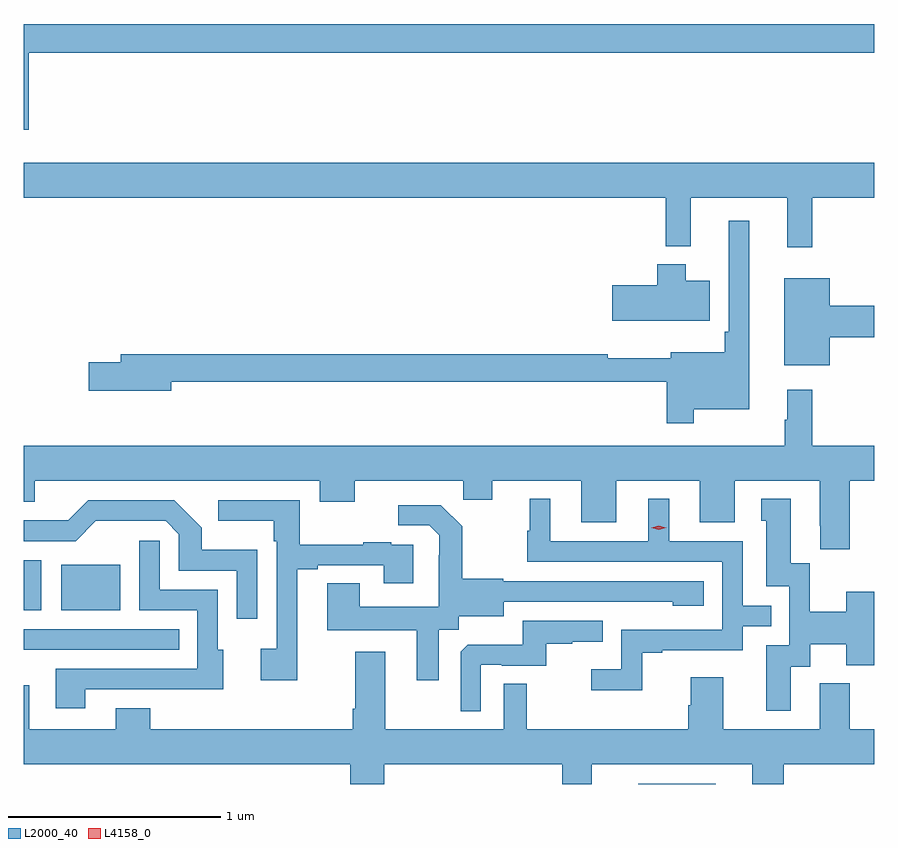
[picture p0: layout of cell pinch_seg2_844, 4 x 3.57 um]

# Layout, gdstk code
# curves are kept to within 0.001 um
import gdstk
lib = gdstk.Library(unit=1e-6, precision=1e-09)
def R(c, l, rs):  # rectangles x0, y0, x1, y1
    for r in rs: c.add(gdstk.rectangle(r[:2], r[2:], *l))
def P(c, l, *ps):  # polygons
    for p in ps: c.add(gdstk.Polygon(p, *l))
L2000_40 = (2000, 40)
L4158_0 = (4158, 0)

pinch_seg2_844 = lib.new_cell('pinch_seg2_844')
R(pinch_seg2_844, L2000_40, [(626.793,600.922,627.157,600.924), (623.903,601.739,623.986,601.975), (624.08,601.739,624.358,601.954)])
P(pinch_seg2_844, L2000_40, [(623.927,604.36),(627.903,604.36),(627.903,604.496),(623.903,604.496),(623.903,603.998),(623.927,603.998)],
  [(627.611,603.68),(627.903,603.68),(627.903,603.844),(623.903,603.844),(623.903,603.68),(626.923,603.68),(626.923,603.452),(627.041,603.452),(627.041,603.68),(627.494,603.68),(627.494,603.447),(627.611,603.447)],
  [(627.055,602.684),(627.316,602.684),(627.316,603.571),(627.219,603.571),(627.219,603.049),(627.199,603.049),(627.199,602.953),(626.945,602.953),(626.945,602.923),(626.649,602.923),(626.649,602.942),(624.359,602.942),(624.359,602.906),(624.21,602.906),(624.21,602.771),(624.598,602.771),(624.598,602.814),(626.926,602.814),(626.926,602.619),(627.055,602.619)],
  [(627.13,603.289),(627.016,603.289),(627.016,603.367),(626.882,603.367),(626.882,603.267),(626.67,603.267),(626.67,603.101),(627.13,603.101)],
  [(627.694,603.023),(627.903,603.023),(627.903,603.17),(627.694,603.17),(627.694,603.301),(627.479,603.301),(627.479,602.891),(627.694,602.891)],
  [(627.787,602.348),(627.903,602.348),(627.903,602.512),(627.611,602.512),(627.611,602.776),(627.494,602.776),(627.494,602.636),(627.483,602.636),(627.483,602.512),(623.903,602.512),(623.903,602.25),(623.956,602.25),(623.956,602.348),(625.295,602.348),(625.295,602.249),(625.459,602.249),(625.459,602.348),(625.969,602.348),(625.969,602.258),(626.107,602.258),(626.107,602.348),(626.525,602.348),(626.525,602.154),(626.689,602.154),(626.689,602.348),(627.083,602.348),(627.083,602.154),(627.247,602.154),(627.247,602.348),(627.647,602.348),(627.647,602.137),(627.648,602.137),(627.648,602.025),(627.787,602.025)],
  [(627.511,601.474),(627.601,601.474),(627.601,601.58),(627.77,601.58),(627.77,601.481),(627.903,601.481),(627.903,601.825),(627.77,601.825),(627.77,601.732),(627.6,601.732),(627.6,601.959),(627.511,601.959),(627.511,602.263),(627.371,602.263),(627.371,602.16),(627.395,602.16),(627.395,601.851),(627.504,601.851),(627.504,601.575),(627.395,601.575),(627.395,601.266),(627.511,601.266)],
  [(626.811,601.539),(626.905,601.539),(626.905,601.551),(627.285,601.551),(627.285,601.665),(627.419,601.665),(627.419,601.761),(627.285,601.761),(627.285,602.064),(626.938,602.064),(626.938,602.263),(626.84,602.263),(626.84,602.064),(626.38,602.064),(626.38,602.263),(626.282,602.263),(626.282,602.112),(626.271,602.112),(626.271,601.968),(627.189,601.968),(627.189,601.647),(626.712,601.647),(626.712,601.462),(626.571,601.462),(626.571,601.364),(626.811,601.364)],
  [(625.189,601.932),(625.285,601.932),(625.285,601.95),(625.595,601.95),(625.595,601.866),(625.735,601.866),(625.735,602.046),(625.631,602.046),(625.631,602.059),(625.499,602.059),(625.499,602.048),(625.201,602.048),(625.201,602.256),(624.819,602.256),(624.819,602.159),(625.08,602.159),(625.08,602.063),(625.092,602.063),(625.092,601.558),(625.017,601.558),(625.017,601.41),(625.189,601.41)],
  [(625.002,602.023),(624.741,602.023),(624.741,602.126),(624.61,602.256),(624.207,602.256),(624.113,602.162),(623.903,602.162),(623.903,602.064),(624.147,602.064),(624.242,602.159),(624.57,602.16),(624.633,602.097),(624.633,601.926),(624.906,601.926),(624.906,601.698),(625.002,601.698)],
  [(625.855,601.648),(625.95,601.648),(625.95,601.712),(626.161,601.712),(626.161,601.779),(626.955,601.778),(626.955,601.76),(627.1,601.76),(627.1,601.875),(626.157,601.875),(626.157,601.888),(625.965,601.888),(625.965,602.133),(625.865,602.233),(625.665,602.233),(625.665,602.139),(625.809,602.139),(625.856,602.092),(625.856,601.997),(625.854,601.997),(625.854,601.756),(625.483,601.756),(625.483,601.865),(625.331,601.865),(625.331,601.646),(625.751,601.646),(625.751,601.41),(625.855,601.41)],
  [(624.193,601.368),(624.623,601.368),(624.623,601.367),(624.841,601.367),(624.841,601.554),(624.816,601.554),(624.816,601.836),(624.543,601.836),(624.543,602.065),(624.447,602.065),(624.447,601.74),(624.72,601.74),(624.72,601.464),(624.053,601.464),(624.053,601.278),(624.193,601.278)],
  [(626.052,601.482),(626.152,601.482),(626.152,601.479),(626.36,601.479),(626.36,601.581),(626.483,601.581),(626.483,601.592),(626.627,601.592),(626.627,601.689),(626.25,601.689),(626.25,601.577),(625.991,601.577),(625.959,601.545),(625.959,601.265),(626.052,601.265)],
  [(623.957,601.554),(624.635,601.554),(624.635,601.65),(623.903,601.65),(623.903,601.553),(623.957,601.553)],
  [(625.599,601.016),(626.435,601.016),(626.435,600.922),(626.575,600.922),(626.575,601.016),(627.329,601.016),(627.329,600.922),(627.477,600.922),(627.477,601.016),(627.903,601.016),(627.903,601.18),(627.787,601.18),(627.787,601.396),(627.647,601.396),(627.647,601.18),(627.193,601.18),(627.193,601.423),(627.041,601.423),(627.041,601.293),(627.029,601.293),(627.029,601.18),(626.269,601.18),(626.269,601.394),(626.16,601.394),(626.16,601.18),(625.603,601.18),(625.603,601.543),(625.463,601.543),(625.463,601.276),(625.451,601.276),(625.451,601.18),(624.499,601.18),(624.499,601.279),(624.335,601.279),(624.335,601.18),(623.929,601.18),(623.929,601.387),(623.903,601.387),(623.903,601.016),(625.439,601.016),(625.439,600.922),(625.599,600.922)])
P(pinch_seg2_844, L4158_0, [(626.889,602.117),(626.853,602.127),(626.853,602.127),(626.853,602.128),(626.889,602.137),(626.925,602.126),(626.925,602.126),(626.925,602.126)])

lib.write_gds('pinch_seg2_844.gds')
